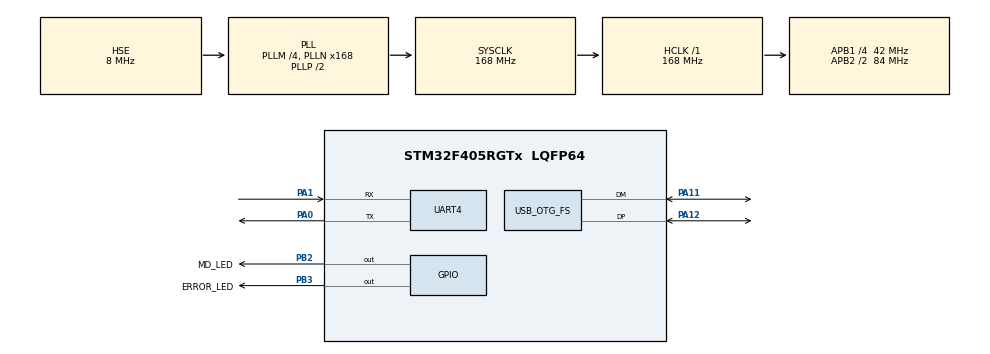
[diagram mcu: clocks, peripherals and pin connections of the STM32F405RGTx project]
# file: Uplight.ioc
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Mcu.Family=STM32F4
Mcu.Name=STM32F405RGTx
Mcu.Package=LQFP64
Mcu.UserConstants=TIM_1_8_PERIOD_CLOCKS,3500;CounterPeriod,65535;TIM_APB1_CLOCK_HZ,42000000;TIM_APB1_DEADTIME_CLOCKS,40;TIM_APB2_CLOCK_HZ,84000000;TIM_1_8_RCR,2;TIM_APB1_PERIOD_CLOCKS,4096;TIM_1_8_DEADTIME_CLOCKS,20;TIM_1_8_CLOCK_HZ,168000000
NVIC.OTG_FS_IRQn=true\:2\:0\:true\:false\:true\:false\:true\:true
NVIC.PriorityGroup=NVIC_PRIORITYGROUP_4
NVIC.UART4_IRQn=true\:0\:0\:false\:false\:true\:true\:true\:true
PA0-WKUP.Mode=Asynchronous
PA0-WKUP.Signal=UART4_TX
PA1.Mode=Asynchronous
PA1.Signal=UART4_RX
PA11.Mode=Device_Only
PA11.Signal=USB_OTG_FS_DM
PA12.Mode=Device_Only
PA12.Signal=USB_OTG_FS_DP
PA13.Mode=Serial_Wire
PA13.Signal=SYS_JTMS-SWDIO
PA14.Mode=Serial_Wire
PA14.Signal=SYS_JTCK-SWCLK
PB2.GPIO_Label=MD_LED
PB2.PinState=GPIO_PIN_RESET
PB2.Signal=GPIO_Output
PB3.GPIO_Label=ERROR_LED
PB3.PinState=GPIO_PIN_RESET
PB3.Signal=GPIO_Output
PH0-OSC_IN.Mode=HSE-External-Oscillator
PH0-OSC_IN.Signal=RCC_OSC_IN
PH1-OSC_OUT.Mode=HSE-External-Oscillator
PH1-OSC_OUT.Signal=RCC_OSC_OUT
ProjectManager.HeapSize=0x3C00
ProjectManager.StackSize=0x800
ProjectManager.TargetToolchain=Makefile
RCC.48MHZClocksFreq_Value=48000000
RCC.AHBFreq_Value=168000000
RCC.APB1CLKDivider=RCC_HCLK_DIV4
RCC.APB1Freq_Value=42000000
RCC.APB1TimFreq_Value=84000000
RCC.APB2CLKDivider=RCC_HCLK_DIV2
RCC.APB2Freq_Value=84000000
RCC.APB2TimFreq_Value=168000000
RCC.CortexFreq_Value=168000000
RCC.HCLKFreq_Value=168000000
RCC.HSE_VALUE=8000000
RCC.HSI_VALUE=16000000
RCC.LSE_VALUE=32768
RCC.PLLM=4
RCC.PLLN=168
RCC.PLLQ=7
RCC.SYSCLKFreq_VALUE=168000000
RCC.SYSCLKSource=RCC_SYSCLKSOURCE_PLLCLK
RCC.VCOOutputFreq_Value=336000000
UART4.VirtualMode=Asynchronous
USB_DEVICE.CLASS_NAME_FS=CDC
USB_DEVICE.PRODUCT_STRING_CDC_FS=nyan-beros(Orichalcum)
USB_DEVICE.VirtualMode-CDC_FS=Cdc
USB_DEVICE.VirtualModeFS=Cdc_FS
USB_OTG_FS.VirtualMode=Device_Only
VP_USB_DEVICE_VS_USB_DEVICE_CDC_FS.Mode=CDC_FS
board=custom

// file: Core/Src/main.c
/* USER CODE BEGIN Header */
/**
 ******************************************************************************
 * @file           : main.c
 * @brief          : Main program body
 ******************************************************************************
 * @attention
 *
 * Copyright (c) 2023 STMicroelectronics.
 * All rights reserved.
 *
 * This software is licensed under terms that can be found in the LICENSE file
 * in the root directory of this software component.
 * If no LICENSE file comes with this software, it is provided AS-IS.
 *
 ******************************************************************************
 */
/* USER CODE END Header */
#include "main.h"
#include "usart.h"
#include "usb_device.h"
#include "gpio.h"

/* USER CODE BEGIN Includes */
#include "usb_device.h"
#include "curemisc.h"
#include "curebuffer.h"
#include "usbd_midi_if.h"
#include <stdio.h>
/* USER CODE END Includes */

/* USER CODE BEGIN PV */
uint8_t uart_tx_dat;
/* USER CODE END PV */

void SystemClock_Config(void);

int main(void)
{

    /* MCU Configuration--------------------------------------------------------*/

    /* Reset of all peripherals, Initializes the Flash interface and the Systick. */
    HAL_Init();

    /* Configure the system clock */
    SystemClock_Config();

    /* Initialize all configured peripherals */
    MX_GPIO_Init();
    MX_UART4_Init();
    MX_USB_DEVICE_Init();
    /* USER CODE BEGIN 2 */

    MX_USB_MIDI_INIT();
    if (FUNC_ERROR == midiInit()) {
        while (1) {
            HAL_Delay(500);
        }
    }
    // Wait usb configuration.
    while (1) {
        if (USBD_STATE_CONFIGURED == hUsbDeviceFS.dev_state) {
            break;
        } else {
        }
    }
    /* USER CODE END 2 */

    /* Infinite loop */
    /* USER CODE BEGIN WHILE */
    int noteon = 0;
    while (1) {
        // Wait USB configuration when USB connection error has occurred.
        while (1) {
            if (USBD_STATE_CONFIGURED == hUsbDeviceFS.dev_state) {
                break;
            } else {
                HAL_Delay(200);
            }
        }

        //[USB-MIDI IN]
        for (uint32_t cable_num = 0; cable_num < MIDI_OUT_JACK_NUM; cable_num++) {
            if (FUNC_SUCCESS == midiGetFromUsbRx(cable_num, &uart_tx_dat)) {
                if ((uart_tx_dat & 0xF0) == 0x90) {  // Note On
                    noteon = 1;
                }
                if (noteon == 1) {
                    noteon = 2;
                }
                if (noteon == 2) {
                    noteon = 1;
                    if ((uart_tx_dat & 0xF0) == 0) {
                        HAL_GPIO_WritePin(MD_LED_GPIO_Port, MD_LED_Pin, GPIO_PIN_SET);
                    } else {
                        HAL_GPIO_WritePin(MD_LED_GPIO_Port, MD_LED_Pin, GPIO_PIN_RESET);
                    }
                }
            }
        }
        /* USER CODE END WHILE */

    }
}

void SystemClock_Config(void)
{
    RCC_OscInitTypeDef RCC_OscInitStruct = {0};
    RCC_ClkInitTypeDef RCC_ClkInitStruct = {0};

    /** Configure the main internal regulator output voltage
     */
    __HAL_RCC_PWR_CLK_ENABLE();
    __HAL_PWR_VOLTAGESCALING_CONFIG(PWR_REGULATOR_VOLTAGE_SCALE1);

    /** Initializes the RCC Oscillators according to the specified parameters
     * in the RCC_OscInitTypeDef structure.
     */
    RCC_OscInitStruct.OscillatorType = RCC_OSCILLATORTYPE_HSE;
    RCC_OscInitStruct.HSEState = RCC_HSE_ON;
    RCC_OscInitStruct.PLL.PLLState = RCC_PLL_ON;
    RCC_OscInitStruct.PLL.PLLSource = RCC_PLLSOURCE_HSE;
    RCC_OscInitStruct.PLL.PLLM = 4;
    RCC_OscInitStruct.PLL.PLLN = 168;
    RCC_OscInitStruct.PLL.PLLP = RCC_PLLP_DIV2;
    RCC_OscInitStruct.PLL.PLLQ = 7;
    if (HAL_RCC_OscConfig(&RCC_OscInitStruct) != HAL_OK) {
        Error_Handler();
    }

    /** Initializes the CPU, AHB and APB buses clocks
     */
    RCC_ClkInitStruct.ClockType = RCC_CLOCKTYPE_HCLK | RCC_CLOCKTYPE_SYSCLK
                                  | RCC_CLOCKTYPE_PCLK1 | RCC_CLOCKTYPE_PCLK2;
    RCC_ClkInitStruct.SYSCLKSource = RCC_SYSCLKSOURCE_PLLCLK;
    RCC_ClkInitStruct.AHBCLKDivider = RCC_SYSCLK_DIV1;
    RCC_ClkInitStruct.APB1CLKDivider = RCC_HCLK_DIV4;
    RCC_ClkInitStruct.APB2CLKDivider = RCC_HCLK_DIV2;

    if (HAL_RCC_ClockConfig(&RCC_ClkInitStruct, FLASH_LATENCY_5) != HAL_OK) {
        Error_Handler();
    }
}

void Error_Handler(void)
{
    __disable_irq();
    while (1) {
    }
}
